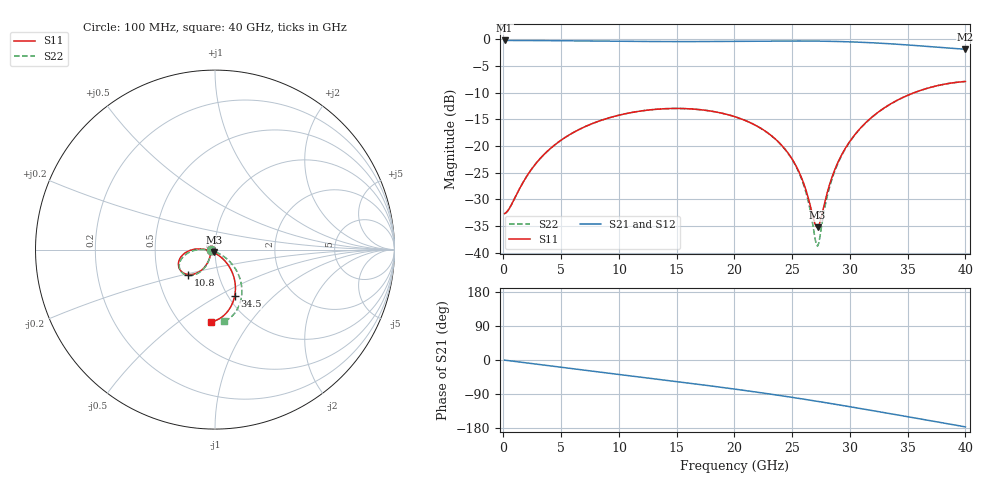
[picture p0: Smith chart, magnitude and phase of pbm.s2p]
! E_s8_L1L8_p800_round_g2: reduced via model, differential mode (per line 50 ohm)
# Hz S RI R 50
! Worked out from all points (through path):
!   400 points, 100 MHz to 40 GHz, reference 50 ohm
!   highest |S21| = -0.20 dB at 100 MHz (marker M1); lowest = -1.9 dB at 40 GHz (marker M2)
!   group delay of S21, straight-line fit = 12.1 ps
!   lowest |S11| = -35.2 dB at 27.2 GHz (marker M3), VSWR 1.04, Z = 49.3 - j1.57 ohm
!   |S11| at or under -10 dB: start of sweep to 35.55 GHz
!   |S22| runs from -38.8 to -7.9 dB; largest |S21 - S12| = 0
!   S11 on the Smith chart (normalised r, x): 100 MHz: 0.95, -0.00; 10.8 GHz: 0.72, -0.21; 34.5 GHz: 1.07, -0.61; 40 GHz: 0.69, -0.67
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1e8  -0.0232 -0.00218  0.9768 -0.00658  0.9768 -0.00658  -0.0232 -0.00219
3.2e9  -0.0381 -0.0667  0.952 -0.2079  0.952 -0.2079  -0.0374 -0.0671
6.8e9  -0.0841 -0.1211  0.8689 -0.4248  0.8689 -0.4248  -0.0812 -0.123
1.08e10  -0.1486 -0.1389  0.7219 -0.6299  0.7219 -0.6299  -0.1434 -0.1443
1.34e10  -0.1833 -0.1251  0.6022 -0.7402  0.6022 -0.7402  -0.1775 -0.1333
1.7e10  -0.204 -0.081  0.4085 -0.8621  0.4085 -0.8621  -0.1992 -0.0921
2.01e10  -0.1843 -0.0342  0.2144 -0.934  0.2144 -0.934  -0.1819 -0.0452
2.27e10  -0.1373 -0.00383  0.0311 -0.9627  0.0311 -0.9627  -0.1366 -0.0117
2.46e10  -0.0871 0.00406  -0.1129 -0.9588  -0.1129 -0.9588  -0.0867 0.000577
2.59e10  -0.0477 -0.000913  -0.2142 -0.9411  -0.2142 -0.9411  -0.0463 -0.000462
2.63e10  -0.0351 -0.00442  -0.2455 -0.933  -0.2455 -0.933  -0.0333 -0.00264
2.67e10  -0.0225 -0.00892  -0.2767 -0.9235  -0.2767 -0.9235  -0.02 -0.00577
2.7e10  -0.013 -0.013  -0.3001 -0.9155  -0.3001 -0.9155  -0.00999 -0.00875
2.72e10  -0.00677 -0.016  -0.3155 -0.9097  -0.3155 -0.9097  -0.0033 -0.011
2.74e10  -0.000516 -0.0192  -0.331 -0.9036  -0.331 -0.9036  0.00339 -0.0136
2.78e10  0.0118 -0.0265  -0.3615 -0.8903  -0.3615 -0.8903  0.0167 -0.0194
2.82e10  0.0239 -0.0348  -0.3917 -0.8756  -0.3917 -0.8756  0.0299 -0.0263
2.92e10  0.0522 -0.06  -0.4649 -0.8328  -0.4649 -0.8328  0.0617 -0.0479
3.1e10  0.0924 -0.1192  -0.5844 -0.7352  -0.5844 -0.7352  0.1103 -0.1016
3.34e10  0.1138 -0.2156  -0.7087 -0.5713  -0.7087 -0.5713  0.1467 -0.1939
3.45e10  0.1091 -0.2607  -0.7497 -0.4876  -0.7497 -0.4876  0.1496 -0.2391
4e10  -0.0226 -0.4024  -0.8058 -0.0487  -0.8058 -0.0487  0.0492 -0.4002
